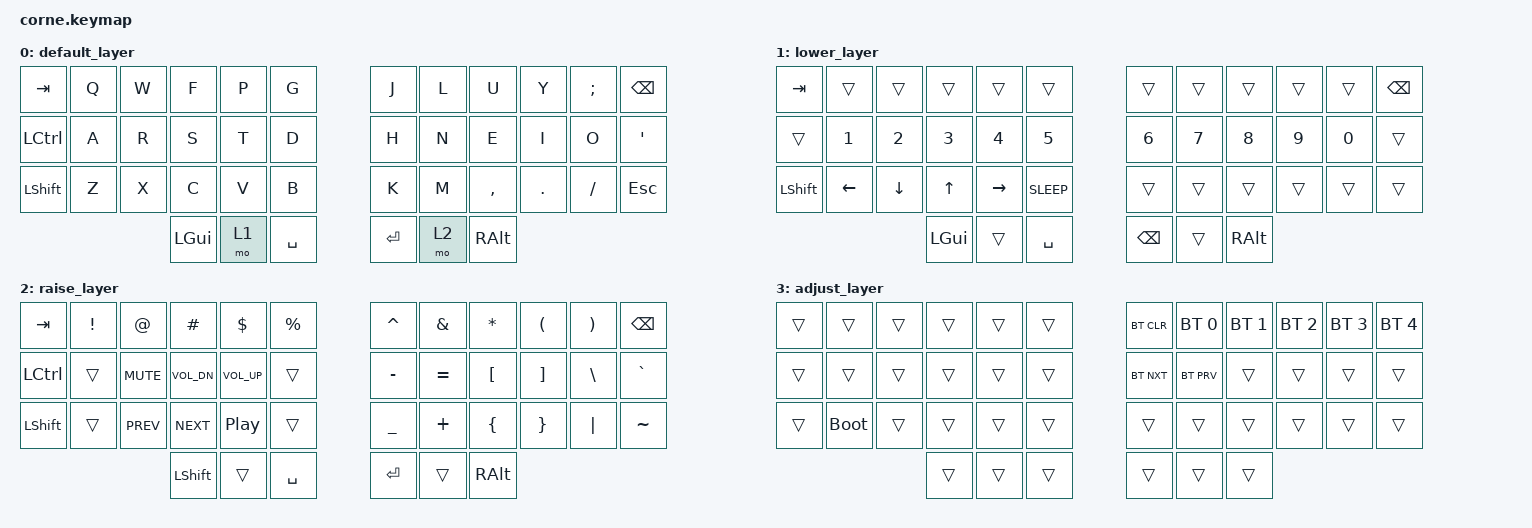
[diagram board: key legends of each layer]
/*
 * Copyright (c) 2020 The ZMK Contributors
 *
 * SPDX-License-Identifier: MIT
 */

#include <behaviors.dtsi>
#include <dt-bindings/zmk/keys.h>
#include <dt-bindings/zmk/bt.h>

/ {
        conditional_layers {
                compatible = "zmk,conditional-layers";
                tri_layer {
                        if-layers = <1 2>;
                        then-layer = <3>;
                };
        };

        keymap {
                compatible = "zmk,keymap";

                default_layer {
                        bindings = <
   &kp TAB   &kp Q &kp W &kp F &kp P &kp G   &kp J &kp L  &kp U     &kp Y   &kp SEMI &kp BSPC
   &kp LCTRL &kp A &kp R &kp S &kp T &kp D   &kp H &kp N  &kp E     &kp I   &kp O    &kp SQT
   &kp LSHFT &kp Z &kp X &kp C &kp V &kp B   &kp K &kp M  &kp COMMA &kp DOT &kp FSLH &kp ESC
                  &kp LGUI &mo 1 &kp SPACE   &kp RET &mo 2 &kp RALT
                        >;
                };

                lower_layer {
                        bindings = <
   &kp TAB    &trans     &trans     &trans    &trans      &trans         &trans   &trans   &trans   &trans   &trans   &kp BSPC
   &trans     &kp N1     &kp N2     &kp N3    &kp N4      &kp N5         &kp N6   &kp N7   &kp N8   &kp N9   &kp N0   &trans
   &kp LSHFT  &kp LEFT   &kp DOWN   &kp UP    &kp RIGHT   &kp C_SLEEP    &trans   &trans   &trans   &trans   &trans   &trans
                                    &kp LGUI  &trans      &kp SPACE      &kp BSPC &trans   &kp RALT
                        >;
                };

                raise_layer {
                        bindings = <
   &kp TAB   &kp EXCL &kp AT     &kp HASH     &kp DLLR     &kp PRCNT    &kp CARET &kp AMPS  &kp ASTRK &kp LPAR &kp RPAR &kp BSPC
   &kp LCTRL &trans   &kp C_MUTE &kp C_VOL_DN &kp C_VOL_UP &trans       &kp MINUS &kp EQUAL &kp LBKT  &kp RBKT &kp BSLH &kp GRAVE
   &kp LSHFT &trans   &kp C_PREV &kp C_NEXT   &kp C_PP     &trans       &kp UNDER &kp PLUS  &kp LBRC  &kp RBRC &kp PIPE &kp TILDE
                                 &kp LSHFT    &trans       &kp SPACE    &kp RET   &trans    &kp RALT
                        >;
                };

                adjust_layer {
                        bindings = <
   &trans  &trans       &trans  &trans  &trans  &trans   &bt BT_CLR  &bt BT_SEL 0  &bt BT_SEL 1  &bt BT_SEL 2  &bt BT_SEL 3  &bt BT_SEL 4
   &trans  &trans       &trans  &trans  &trans  &trans   &bt BT_NXT  &bt BT_PRV    &trans        &trans        &trans        &trans
   &trans  &bootloader  &trans  &trans  &trans  &trans   &trans      &trans        &trans        &trans        &trans        &trans
                                &trans  &trans  &trans   &trans      &trans        &trans
                        >;
                };
        };
};
